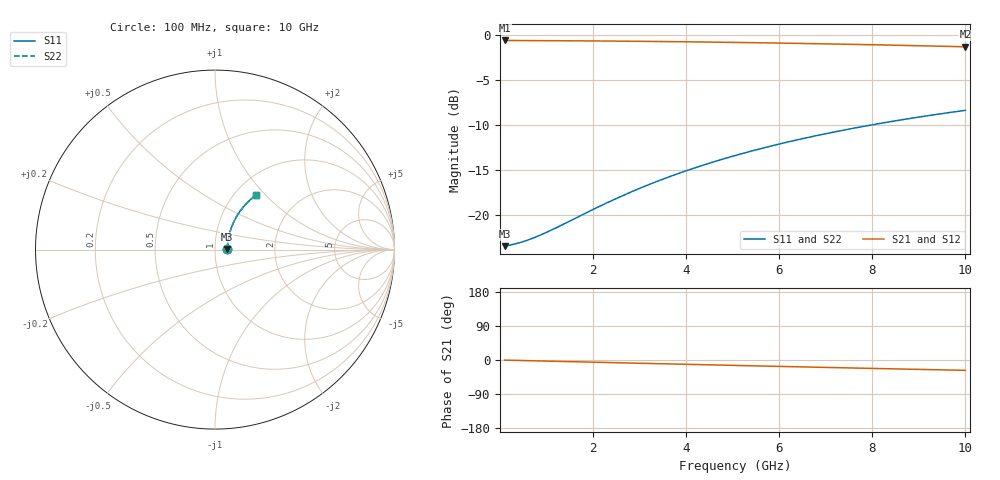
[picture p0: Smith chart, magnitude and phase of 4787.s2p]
# Hz S RI R 50.00
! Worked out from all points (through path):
!   100 points, 100 MHz to 10 GHz, reference 50 ohm
!   highest |S21| = -0.61 dB at 100 MHz (marker M1); lowest = -1.3 dB at 10 GHz (marker M2)
!   group delay of S21, straight-line fit = 7.6 ps
!   lowest |S11| = -23.4 dB at 100 MHz (marker M3), VSWR 1.14, Z = 57.2 + j0.436 ohm
!   |S11| at or under -10 dB: start of sweep to 7.958 GHz
!   |S22| runs from -23.4 to -8.4 dB; largest |S21 - S12| = 0
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1e8  0.0673 0.00379  0.9327 -0.00468  0.9327 -0.00468  0.0673 0.00379
3e8  0.0682 0.0114  0.9318 -0.014  0.9318 -0.014  0.0682 0.0114
4e8  0.0686 0.0151  0.9314 -0.0187  0.9314 -0.0187  0.0686 0.0151
6e8  0.0693 0.0227  0.9307 -0.028  0.9307 -0.028  0.0693 0.0227
8e8  0.0702 0.0302  0.9298 -0.0373  0.9298 -0.0373  0.0702 0.0302
1.2e9  0.0721 0.0451  0.9278 -0.0558  0.9278 -0.0558  0.0721 0.0451
1.8e9  0.076 0.0673  0.9238 -0.0834  0.9238 -0.0834  0.076 0.0673
2.2e9  0.0793 0.082  0.9205 -0.1016  0.9205 -0.1016  0.0793 0.082
2.6e9  0.0831 0.0964  0.9166 -0.1196  0.9166 -0.1196  0.0831 0.0964
3e9  0.0874 0.1106  0.9122 -0.1374  0.9122 -0.1374  0.0874 0.1106
3.4e9  0.0923 0.1246  0.9072 -0.155  0.9072 -0.155  0.0923 0.1246
3.8e9  0.0976 0.1383  0.9017 -0.1723  0.9017 -0.1723  0.0976 0.1383
4.2e9  0.1035 0.1518  0.8958 -0.1893  0.8958 -0.1893  0.1035 0.1518
4.6e9  0.1098 0.1649  0.8893 -0.206  0.8893 -0.206  0.1098 0.1649
5.1e9  0.1184 0.1809  0.8805 -0.2265  0.8805 -0.2265  0.1184 0.1809
5.5e9  0.1257 0.1933  0.873 -0.2425  0.873 -0.2425  0.1257 0.1933
5.9e9  0.1334 0.2053  0.8651 -0.2581  0.8651 -0.2581  0.1334 0.2053
6.7e9  0.1501 0.2281  0.848 -0.2881  0.848 -0.2881  0.1501 0.2281
7.5e9  0.1681 0.2493  0.8295 -0.3165  0.8295 -0.3165  0.1681 0.2493
8.4e9  0.1897 0.2712  0.8073 -0.3465  0.8073 -0.3465  0.1897 0.2712
9.2e9  0.21 0.2887  0.7864 -0.3713  0.7864 -0.3713  0.21 0.2887
1e10  0.2311 0.3044  0.7647 -0.3943  0.7647 -0.3943  0.2311 0.3044
